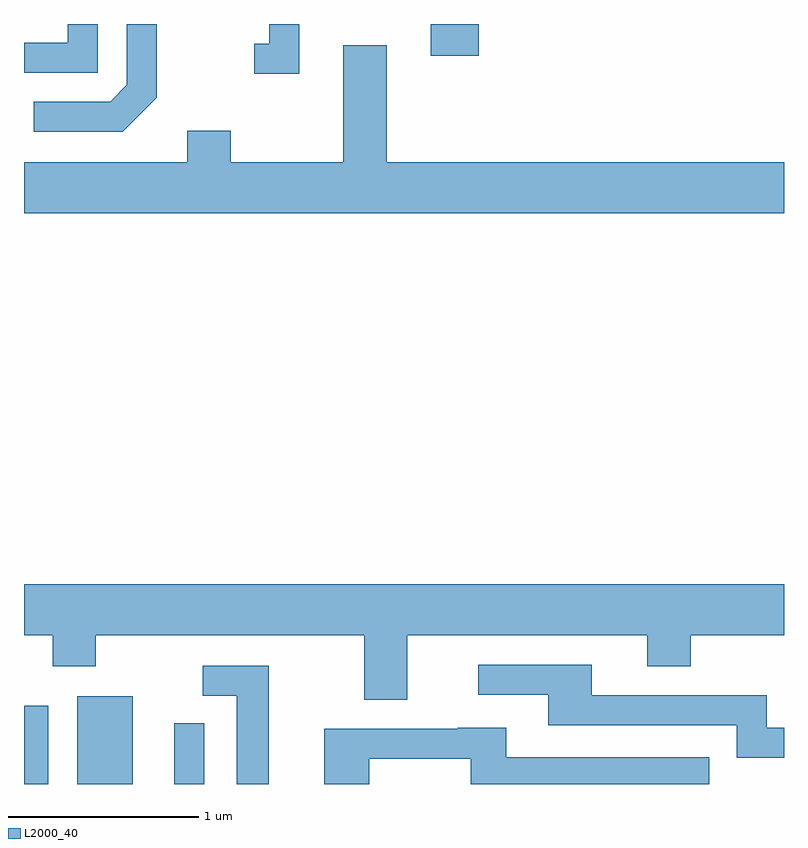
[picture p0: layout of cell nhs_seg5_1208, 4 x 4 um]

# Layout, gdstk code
import gdstk
lib = gdstk.Library(unit=1e-6, precision=1e-09)
def R(c, l, rs):  # rectangles x0, y0, x1, y1
    for r in rs: c.add(gdstk.rectangle(r[:2], r[2:], *l))
def P(c, l, *ps):  # polygons
    for p in ps: c.add(gdstk.Polygon(p, *l))
L2000_40 = (2000, 40)

nhs_seg5_1208 = lib.new_cell('nhs_seg5_1208')
R(nhs_seg5_1208, L2000_40, [(221.611,1396.072,221.739,1396.484), (221.891,1396.072,222.184,1396.534), (222.401,1396.072,222.559,1396.393), (223.751,1399.906,224.004,1400.072)])
P(nhs_seg5_1208, L2000_40, [(223.059,1400.072),(222.901,1400.072),(222.901,1399.969),(222.823,1399.969),(222.823,1399.811),(223.059,1399.811)],
  [(221.999,1400.072),(221.841,1400.072),(221.841,1399.974),(221.611,1399.974),(221.611,1399.816),(221.999,1399.816)],
  [(222.309,1399.684),(222.309,1400.072),(222.151,1400.072),(222.151,1399.752),(222.064,1399.664),(221.663,1399.664),(221.663,1399.506),(222.132,1399.506)],
  [(225.611,1399.344),(223.519,1399.344),(223.519,1399.959),(223.291,1399.959),(223.291,1399.344),(222.699,1399.344),(222.699,1399.509),(222.471,1399.509),(222.471,1399.344),(221.611,1399.344),(221.611,1399.076),(225.611,1399.076)],
  [(223.629,1396.856),(224.891,1396.856),(224.891,1396.691),(225.119,1396.691),(225.119,1396.856),(225.611,1396.856),(225.611,1397.124),(221.611,1397.124),(221.611,1396.856),(221.761,1396.856),(221.761,1396.691),(221.989,1396.691),(221.989,1396.856),(223.401,1396.856),(223.401,1396.516),(223.629,1396.516)],
  [(225.611,1396.369),(225.519,1396.369),(225.519,1396.539),(224.599,1396.539),(224.599,1396.699),(224.003,1396.699),(224.003,1396.541),(224.371,1396.541),(224.371,1396.381),(225.361,1396.381),(225.361,1396.211),(225.611,1396.211)],
  [(222.899,1396.694),(222.553,1396.694),(222.553,1396.536),(222.731,1396.536),(222.731,1396.072),(222.899,1396.072)],
  [(223.429,1396.206),(223.961,1396.206),(223.961,1396.072),(225.218,1396.072),(225.218,1396.214),(224.149,1396.214),(224.149,1396.369),(223.895,1396.369),(223.895,1396.364),(223.191,1396.364),(223.191,1396.072),(223.429,1396.072)])

lib.write_gds('nhs_seg5_1208.gds')
